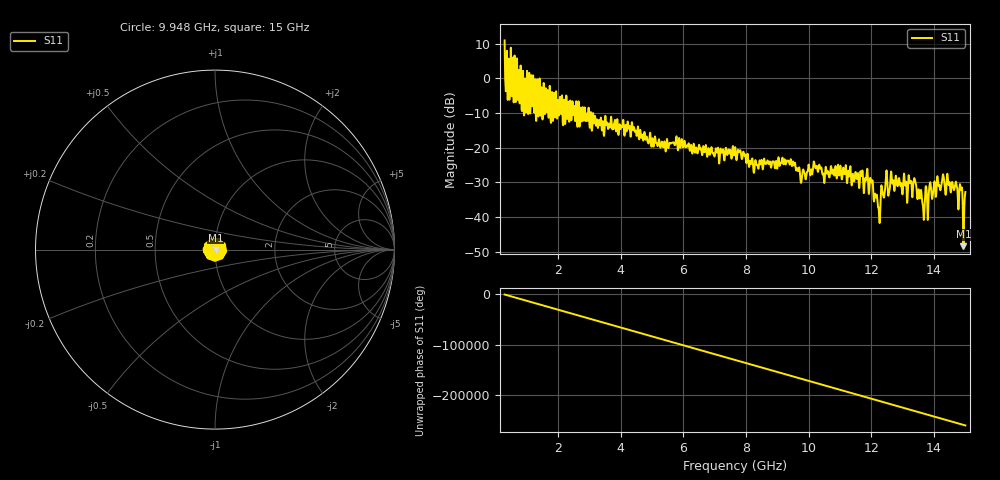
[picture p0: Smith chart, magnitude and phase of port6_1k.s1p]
# GHZ S RI R 50.0
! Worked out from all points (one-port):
!   12801 points, 300 MHz to 15 GHz, reference 50 ohm
!   lowest |S11| = -48.4 dB at 14.94 GHz (marker M1), VSWR 1.01, Z = 50.3 - j0.21 ohm
!   |S11| at or under -10 dB: 2.869 GHz to 2.967 GHz (98 MHz wide, 3.36 % of centre); 3.055 GHz to 3.12 GHz (65.59 MHz wide, 2.12 % of centre); 3.123 GHz to end of sweep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
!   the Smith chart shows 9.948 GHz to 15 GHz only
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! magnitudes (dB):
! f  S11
! 300 MHz  10.9
! 399.9 MHz  -6.2
! 752.5 MHz  2.2
! 911 MHz  -9.7
! 1.149 GHz  0.7
! 1.315 GHz  -11.5
! 2.138 GHz  -7.1
! 3.975 GHz  -13.6
! 5.393 GHz  -18.3
! 5.812 GHz  -19.7
! 7.65 GHz  -20.1
! 8.299 GHz  -23.6
! 9.488 GHz  -24.4
! 9.792 GHz  -27.8
! 10.21 GHz  -25.6
! 11.32 GHz  -25.4
! 11.92 GHz  -33.3
! 12.22 GHz  -37.2
! 12.44 GHz  -32.0
! 12.65 GHz  -28.3
! 13.16 GHz  -33.0
! 13.39 GHz  -29.3
! 13.64 GHz  -36.3
! 14.06 GHz  -34.0
! 14.46 GHz  -30.7
! 14.85 GHz  -31.7
! 14.94 GHz  -48.4
! 15 GHz  -32.8
